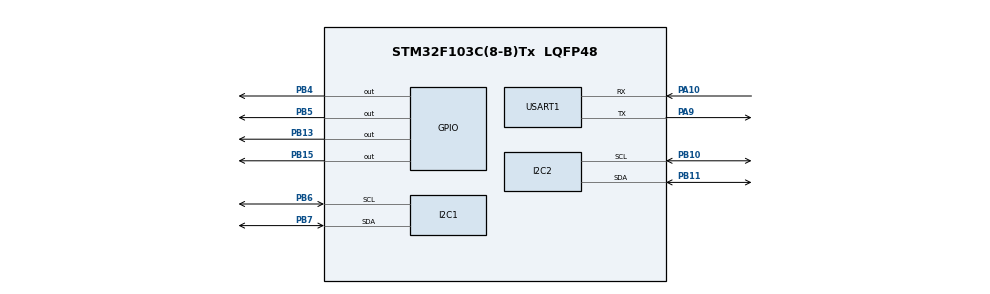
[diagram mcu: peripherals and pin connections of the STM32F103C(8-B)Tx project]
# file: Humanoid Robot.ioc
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Mcu.Family=STM32F1
Mcu.Name=STM32F103C(8-B)Tx
Mcu.Package=LQFP48
NVIC.I2C1_ER_IRQn=true\:0\:0\:false\:false\:true\:true\:true\:true
NVIC.I2C1_EV_IRQn=true\:0\:0\:false\:false\:true\:true\:true\:true
NVIC.I2C2_ER_IRQn=true\:0\:0\:false\:false\:true\:true\:true\:true
NVIC.I2C2_EV_IRQn=true\:0\:0\:false\:false\:true\:true\:true\:true
NVIC.PriorityGroup=NVIC_PRIORITYGROUP_4
PA10.Mode=Asynchronous
PA10.Signal=USART1_RX
PA13.Mode=Serial_Wire
PA13.Signal=SYS_JTMS-SWDIO
PA14.Mode=Serial_Wire
PA14.Signal=SYS_JTCK-SWCLK
PA9.Mode=Asynchronous
PA9.Signal=USART1_TX
PB10.Mode=I2C
PB10.Signal=I2C2_SCL
PB11.Mode=I2C
PB11.Signal=I2C2_SDA
PB13.Signal=GPIO_Output
PB15.Signal=GPIO_Output
PB4.Signal=GPIO_Output
PB5.Signal=GPIO_Output
PB6.Mode=I2C
PB6.Signal=I2C1_SCL
PB7.Mode=I2C
PB7.Signal=I2C1_SDA
PC14-OSC32_IN.Mode=LSE-External-Oscillator
PC14-OSC32_IN.Signal=RCC_OSC32_IN
PC15-OSC32_OUT.Mode=LSE-External-Oscillator
PC15-OSC32_OUT.Signal=RCC_OSC32_OUT
PD0-OSC_IN.Mode=HSE-External-Oscillator
PD0-OSC_IN.Signal=RCC_OSC_IN
PD1-OSC_OUT.Mode=HSE-External-Oscillator
PD1-OSC_OUT.Signal=RCC_OSC_OUT
ProjectManager.HeapSize=0x200
ProjectManager.StackSize=0x400
ProjectManager.TargetToolchain=STM32CubeIDE
RCC.AHBFreq_Value=72000000
RCC.APB1CLKDivider=RCC_HCLK_DIV2
RCC.APB1Freq_Value=36000000
RCC.APB1TimFreq_Value=72000000
RCC.APB2Freq_Value=72000000
RCC.APB2TimFreq_Value=72000000
RCC.EnbaleCSS=true
RCC.HCLKFreq_Value=72000000
RCC.PLLMUL=RCC_PLL_MUL9
RCC.PLLSourceVirtual=RCC_PLLSOURCE_HSE
RCC.SYSCLKFreq_VALUE=72000000
RCC.SYSCLKSource=RCC_SYSCLKSOURCE_PLLCLK
RCC.USBFreq_Value=72000000
USART1.VirtualMode=VM_ASYNC
board=custom

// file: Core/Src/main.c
/* USER CODE BEGIN Header */
/**
  ******************************************************************************
  * @file           : main.c
  * @brief          : Main program body
  ******************************************************************************
  * @attention
  *
  * Copyright (c) 2025 STMicroelectronics.
  * All rights reserved.
  *
  * This software is licensed under terms that can be found in the LICENSE file
  * in the root directory of this software component.
  * If no LICENSE file comes with this software, it is provided AS-IS.
  *
  ******************************************************************************
  */
/* USER CODE END Header */
#include "main.h"

/* USER CODE BEGIN Includes */
#include <string.h>
#include <stdio.h>
#include <stdlib.h>

#include "globals.h"
#include "DRV8825.h"
/* USER CODE END Includes */

/* USER CODE BEGIN PV */
volatile uint8_t rx_index = 0;
volatile uint8_t dataReady = 0;
uint8_t receivedData[32];

DRV8825_HandleTypeDef hdrv8825 = {
    .dirPort = GPIOB,           // For example: change as needed.
    .stepPort = GPIOB,
    .enablePort = GPIOB,
    .resetPort = GPIOB,
    .dirPin = LL_GPIO_PIN_4,    // Example pin numbers.
    .stepPin = LL_GPIO_PIN_5,
    .enablePin = LL_GPIO_PIN_13,
    .resetPin = LL_GPIO_PIN_15,
    .stepsPerRevolution = 200   // Adjust to your motor.
};
/* USER CODE END PV */

void SystemClock_Config(void);
static void MX_GPIO_Init(void);
static void MX_I2C2_Init(void);
static void MX_USART1_UART_Init(void);
static void MX_I2C1_Init(void);
/* USER CODE BEGIN PFP */

int _write(int file, char *ptr, int len) {
    for (int i = 0; i < len; i++) {
        while (!LL_USART_IsActiveFlag_TXE(USART1));  // Wait until TX buffer is empty
        LL_USART_TransmitData8(USART1, ptr[i]);      // Send byte
    }

    while (!LL_USART_IsActiveFlag_TC(USART1));  // Wait for last transmission to complete
    return len;
}

//void I2C_SlaveListen(void)
//{
//    uint8_t index = 0;
//    memset(receivedData, 0, sizeof(receivedData));  // ✅ Clear buffer before receiving new data
//
//    /* ✅ Wait for master to address the slave */
//    while (!LL_I2C_IsActiveFlag_ADDR(I2C2));
//
//    /* ✅ Clear ADDR flag */
//    LL_I2C_ClearFlag_ADDR(I2C2);
//
//    /* ✅ Read incoming data */
//    while (!LL_I2C_IsActiveFlag_STOP(I2C2))
//    {
//        if (LL_I2C_IsActiveFlag_RXNE(I2C2))  // Check if data is received
//        {
//            receivedData[index] = LL_I2C_ReceiveData8(I2C2);
////            printf("Received Byte[%d]: %c (0x%02X)\r\n", index, receivedData[index], receivedData[index]);
//            index++;
//
//            if (index >= sizeof(receivedData) - 1)  // Prevent buffer overflow
//                break;
//        }
//    }
//
//    /* ✅ Clear STOP flag */
//    LL_I2C_ClearFlag_STOP(I2C2);
//
//    /* ✅ Null-terminate the received data */
//    receivedData[index] = '\0';
//    printf("Full Received Message: %s\r\n", receivedData);
//
//    dataReady = 1;  // ✅ Mark data as received
//}

/* USER CODE END PFP */

int main(void)
{

  /* MCU Configuration--------------------------------------------------------*/

  /* Reset of all peripherals, Initializes the Flash interface and the Systick. */
  LL_APB2_GRP1_EnableClock(LL_APB2_GRP1_PERIPH_AFIO);
  LL_APB1_GRP1_EnableClock(LL_APB1_GRP1_PERIPH_PWR);

  /* System interrupt init*/
  NVIC_SetPriorityGrouping(NVIC_PRIORITYGROUP_4);

  /* SysTick_IRQn interrupt configuration */
  NVIC_SetPriority(SysTick_IRQn, NVIC_EncodePriority(NVIC_GetPriorityGrouping(),15, 0));

  /** NOJTAG: JTAG-DP Disabled and SW-DP Enabled
  */
  LL_GPIO_AF_Remap_SWJ_NOJTAG();

  /* Configure the system clock */
  SystemClock_Config();

  /* Initialize all configured peripherals */
  MX_GPIO_Init();
  MX_I2C2_Init();
  MX_USART1_UART_Init();
  MX_I2C1_Init();
  /* USER CODE BEGIN 2 */
  LL_I2C_EnableIT_EVT(I2C2);
  LL_I2C_EnableIT_ERR(I2C2);
  /* USER CODE END 2 */

  /* Infinite loop */
  while (1)
  {

    /* USER CODE BEGIN 3 */
//	 I2C_SlaveListen();  // Listen for I2C master messages

	  if (dataReady)
	  {
		  printf("Full Message: %s\r\n", receivedData);
		  dataReady = 0;  // Clear flag after processing

		 // Optionally, process or echo the message here.
	  }
  }
  /* USER CODE END 3 */
}

void SystemClock_Config(void)
{
  LL_FLASH_SetLatency(LL_FLASH_LATENCY_2);
  while(LL_FLASH_GetLatency()!= LL_FLASH_LATENCY_2)
  {
  }
  LL_RCC_HSE_Enable();

   /* Wait till HSE is ready */
  while(LL_RCC_HSE_IsReady() != 1)
  {

  }
  LL_RCC_HSE_EnableCSS();
  LL_RCC_PLL_ConfigDomain_SYS(LL_RCC_PLLSOURCE_HSE_DIV_1, LL_RCC_PLL_MUL_9);
  LL_RCC_PLL_Enable();

   /* Wait till PLL is ready */
  while(LL_RCC_PLL_IsReady() != 1)
  {

  }
  LL_RCC_SetAHBPrescaler(LL_RCC_SYSCLK_DIV_1);
  LL_RCC_SetAPB1Prescaler(LL_RCC_APB1_DIV_2);
  LL_RCC_SetAPB2Prescaler(LL_RCC_APB2_DIV_1);
  LL_RCC_SetSysClkSource(LL_RCC_SYS_CLKSOURCE_PLL);

   /* Wait till System clock is ready */
  while(LL_RCC_GetSysClkSource() != LL_RCC_SYS_CLKSOURCE_STATUS_PLL)
  {

  }
  LL_Init1msTick(72000000);
  LL_SetSystemCoreClock(72000000);
}

static void MX_I2C1_Init(void)
{

  LL_I2C_InitTypeDef I2C_InitStruct = {0};

  LL_GPIO_InitTypeDef GPIO_InitStruct = {0};

  LL_APB2_GRP1_EnableClock(LL_APB2_GRP1_PERIPH_GPIOB);
  /**I2C1 GPIO Configuration
  PB6   ------> I2C1_SCL
  PB7   ------> I2C1_SDA
  */
  GPIO_InitStruct.Pin = LL_GPIO_PIN_6|LL_GPIO_PIN_7;
  GPIO_InitStruct.Mode = LL_GPIO_MODE_ALTERNATE;
  GPIO_InitStruct.Speed = LL_GPIO_SPEED_FREQ_HIGH;
  GPIO_InitStruct.OutputType = LL_GPIO_OUTPUT_OPENDRAIN;
  LL_GPIO_Init(GPIOB, &GPIO_InitStruct);

  /* Peripheral clock enable */
  LL_APB1_GRP1_EnableClock(LL_APB1_GRP1_PERIPH_I2C1);

  /* I2C1 interrupt Init */
  NVIC_SetPriority(I2C1_EV_IRQn, NVIC_EncodePriority(NVIC_GetPriorityGrouping(),0, 0));
  NVIC_EnableIRQ(I2C1_EV_IRQn);
  NVIC_SetPriority(I2C1_ER_IRQn, NVIC_EncodePriority(NVIC_GetPriorityGrouping(),0, 0));
  NVIC_EnableIRQ(I2C1_ER_IRQn);

  /** I2C Initialization
  */
  LL_I2C_DisableOwnAddress2(I2C1);
  LL_I2C_DisableGeneralCall(I2C1);
  LL_I2C_EnableClockStretching(I2C1);
  I2C_InitStruct.PeripheralMode = LL_I2C_MODE_I2C;
  I2C_InitStruct.ClockSpeed = 100000;
  I2C_InitStruct.DutyCycle = LL_I2C_DUTYCYCLE_2;
  I2C_InitStruct.OwnAddress1 = 0;
  I2C_InitStruct.TypeAcknowledge = LL_I2C_ACK;
  I2C_InitStruct.OwnAddrSize = LL_I2C_OWNADDRESS1_7BIT;
  LL_I2C_Init(I2C1, &I2C_InitStruct);
  LL_I2C_SetOwnAddress2(I2C1, 0);

}

static void MX_I2C2_Init(void)
{

  LL_I2C_InitTypeDef I2C_InitStruct = {0};

  LL_GPIO_InitTypeDef GPIO_InitStruct = {0};

  LL_APB2_GRP1_EnableClock(LL_APB2_GRP1_PERIPH_GPIOB);
  /**I2C2 GPIO Configuration
  PB10   ------> I2C2_SCL
  PB11   ------> I2C2_SDA
  */
  GPIO_InitStruct.Pin = LL_GPIO_PIN_10|LL_GPIO_PIN_11;
  GPIO_InitStruct.Mode = LL_GPIO_MODE_ALTERNATE;
  GPIO_InitStruct.Speed = LL_GPIO_SPEED_FREQ_HIGH;
  GPIO_InitStruct.OutputType = LL_GPIO_OUTPUT_OPENDRAIN;
  LL_GPIO_Init(GPIOB, &GPIO_InitStruct);

  /* Peripheral clock enable */
  LL_APB1_GRP1_EnableClock(LL_APB1_GRP1_PERIPH_I2C2);

  /* I2C2 interrupt Init */
  NVIC_SetPriority(I2C2_EV_IRQn, NVIC_EncodePriority(NVIC_GetPriorityGrouping(),0, 0));
  NVIC_EnableIRQ(I2C2_EV_IRQn);
  NVIC_SetPriority(I2C2_ER_IRQn, NVIC_EncodePriority(NVIC_GetPriorityGrouping(),0, 0));
  NVIC_EnableIRQ(I2C2_ER_IRQn);

  /* USER CODE BEGIN I2C2_Init 1 */
  I2C_InitStruct.OwnAddress1 = 0x20;

  /* USER CODE END I2C2_Init 1 */

  /** I2C Initialization
  */
  LL_I2C_DisableOwnAddress2(I2C2);
  LL_I2C_DisableGeneralCall(I2C2);
  LL_I2C_EnableClockStretching(I2C2);
  I2C_InitStruct.PeripheralMode = LL_I2C_MODE_I2C;
  I2C_InitStruct.ClockSpeed = 100000;
  I2C_InitStruct.DutyCycle = LL_I2C_DUTYCYCLE_2;
//  I2C_InitStruct.OwnAddress1 = 0;
  I2C_InitStruct.TypeAcknowledge = LL_I2C_ACK;
  I2C_InitStruct.OwnAddrSize = LL_I2C_OWNADDRESS1_7BIT;
  LL_I2C_Init(I2C2, &I2C_InitStruct);
  LL_I2C_SetOwnAddress2(I2C2, 0);

}

static void MX_USART1_UART_Init(void)
{

  LL_USART_InitTypeDef USART_InitStruct = {0};

  LL_GPIO_InitTypeDef GPIO_InitStruct = {0};

  /* Peripheral clock enable */
  LL_APB2_GRP1_EnableClock(LL_APB2_GRP1_PERIPH_USART1);

  LL_APB2_GRP1_EnableClock(LL_APB2_GRP1_PERIPH_GPIOA);
  /**USART1 GPIO Configuration
  PA9   ------> USART1_TX
  PA10   ------> USART1_RX
  */
  GPIO_InitStruct.Pin = LL_GPIO_PIN_9;
  GPIO_InitStruct.Mode = LL_GPIO_MODE_ALTERNATE;
  GPIO_InitStruct.Speed = LL_GPIO_SPEED_FREQ_HIGH;
  GPIO_InitStruct.OutputType = LL_GPIO_OUTPUT_PUSHPULL;
  LL_GPIO_Init(GPIOA, &GPIO_InitStruct);

  GPIO_InitStruct.Pin = LL_GPIO_PIN_10;
  GPIO_InitStruct.Mode = LL_GPIO_MODE_FLOATING;
  LL_GPIO_Init(GPIOA, &GPIO_InitStruct);

  USART_InitStruct.BaudRate = 115200;
  USART_InitStruct.DataWidth = LL_USART_DATAWIDTH_8B;
  USART_InitStruct.StopBits = LL_USART_STOPBITS_1;
  USART_InitStruct.Parity = LL_USART_PARITY_NONE;
  USART_InitStruct.TransferDirection = LL_USART_DIRECTION_TX_RX;
  USART_InitStruct.HardwareFlowControl = LL_USART_HWCONTROL_NONE;
  USART_InitStruct.OverSampling = LL_USART_OVERSAMPLING_16;
  LL_USART_Init(USART1, &USART_InitStruct);
  LL_USART_ConfigAsyncMode(USART1);
  LL_USART_Enable(USART1);

}

static void MX_GPIO_Init(void)
{
  LL_GPIO_InitTypeDef GPIO_InitStruct = {0};

  /* GPIO Ports Clock Enable */
  LL_APB2_GRP1_EnableClock(LL_APB2_GRP1_PERIPH_GPIOC);
  LL_APB2_GRP1_EnableClock(LL_APB2_GRP1_PERIPH_GPIOD);
  LL_APB2_GRP1_EnableClock(LL_APB2_GRP1_PERIPH_GPIOB);
  LL_APB2_GRP1_EnableClock(LL_APB2_GRP1_PERIPH_GPIOA);

  /**/
  LL_GPIO_ResetOutputPin(GPIOB, LL_GPIO_PIN_13|LL_GPIO_PIN_15|LL_GPIO_PIN_4|LL_GPIO_PIN_5);

  /**/
  GPIO_InitStruct.Pin = LL_GPIO_PIN_13|LL_GPIO_PIN_15|LL_GPIO_PIN_4|LL_GPIO_PIN_5;
  GPIO_InitStruct.Mode = LL_GPIO_MODE_OUTPUT;
  GPIO_InitStruct.Speed = LL_GPIO_SPEED_FREQ_LOW;
  GPIO_InitStruct.OutputType = LL_GPIO_OUTPUT_PUSHPULL;
  LL_GPIO_Init(GPIOB, &GPIO_InitStruct);

}

void Error_Handler(void)
{
  __disable_irq();
  while (1)
  {
  }
}
